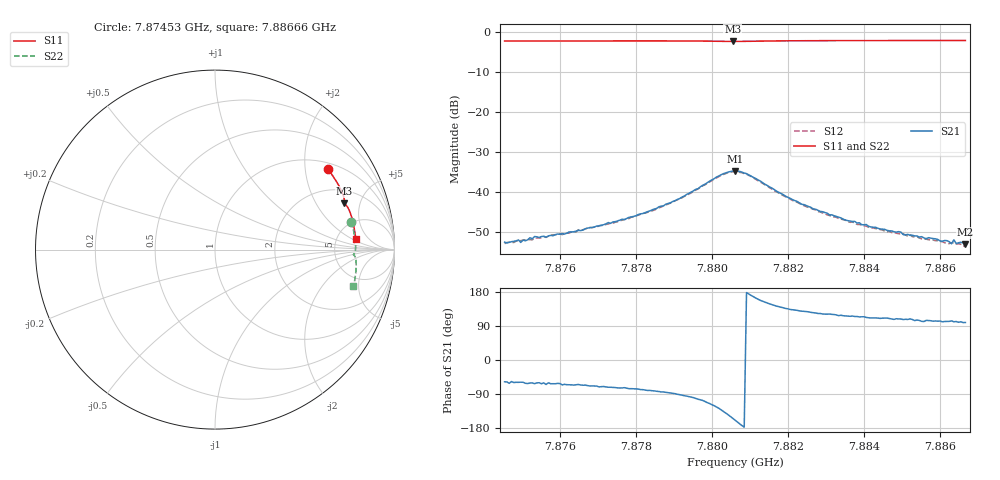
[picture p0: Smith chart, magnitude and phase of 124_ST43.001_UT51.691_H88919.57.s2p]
#  HZ  S  DB  R  50.00
! Rohde & Schwarz Vector Network Analyzer
! Rohde-Schwarz,ZNB20-2Port,1311601062101988,3.16
! Created: UTC 1/12/2023, 6:38:29 PM
! freq[Hz]  db:S11  ang:S11  db:S21  ang:S21  db:S12  ang:S12  db:S22  ang:S22
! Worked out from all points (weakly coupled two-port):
!   201 points, 7.87453 GHz to 7.88666 GHz, reference 50 ohm
!   highest |S21| = -34.76 dB at 7.8806 GHz (marker M1); lowest = -53.1 dB at 7.88666 GHz (marker M2)
!   lowest |S11| = -2.3 dB at 7.88054 GHz (marker M3), VSWR 7.47, Z = 144 + j177 ohm
!   |S11| at or under -10 dB: nowhere
!   |S22| runs from -2.3 to -2.0 dB; largest |S21 - S12| = 0.0012
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7.874531e9  -2.25 35.7  -52.55 -57.6  -52.92 -60.4  -2.21 11.5
7.874894e9  -2.24 34.7  -52.00 -59.0  -52.27 -61.5  -2.20 10.7
7.874955e9  -2.24 34.5  -52.62 -58.5  -52.18 -61.1  -2.20 10.5
7.875319e9  -2.23 33.5  -51.14 -62.5  -51.59 -63.1  -2.20 9.7
7.875622e9  -2.23 32.7  -51.32 -64.6  -51.36 -66.0  -2.18 9.0
7.876593e9  -2.21 30.0  -49.54 -66.6  -49.45 -70.1  -2.15 6.6
7.877685e9  -2.20 27.1  -46.92 -73.0  -46.89 -77.5  -2.13 4.1
7.878594e9  -2.20 24.5  -43.69 -83.2  -43.93 -87.2  -2.12 1.9
7.87914e9  -2.20 23.0  -41.63 -91.5  -41.67 -94.9  -2.13 0.6
7.880232e9  -2.31 20.1  -35.68 -131.7  -35.84 -135.1  -2.21 -1.8
7.880535e9  -2.34 19.7  -34.78 -153.9  -34.94 -157.1  -2.25 -2.1
7.880596e9  -2.34 19.6  -34.76 -158.7  -34.96 -162.0  -2.26 -2.1
7.880899e9  -2.31 19.3  -35.40 177.9  -35.55 174.8  -2.22 -2.3
7.88187e9  -2.18 16.9  -40.69 137.7  -40.93 134.3  -2.07 -4.3
7.882658e9  -2.15 14.7  -44.24 124.9  -44.33 121.1  -2.03 -6.1
7.883811e9  -2.12 11.6  -47.77 114.8  -48.12 111.6  -2.01 -8.7
7.88466e9  -2.11 9.3  -49.72 109.5  -49.88 106.1  -1.99 -10.6
7.886176e9  -2.09 5.4  -52.18 101.9  -52.88 100.0  -1.96 -13.9
7.886297e9  -2.09 5.0  -52.96 103.2  -52.68 98.9  -1.96 -14.2
7.886358e9  -2.09 4.9  -51.97 100.8  -52.77 99.1  -1.96 -14.3
7.886419e9  -2.09 4.7  -52.89 101.6  -53.02 98.1  -1.96 -14.4
7.886661e9  -2.09 4.1  -53.07 99.0  -53.48 96.5  -1.96 -14.9
